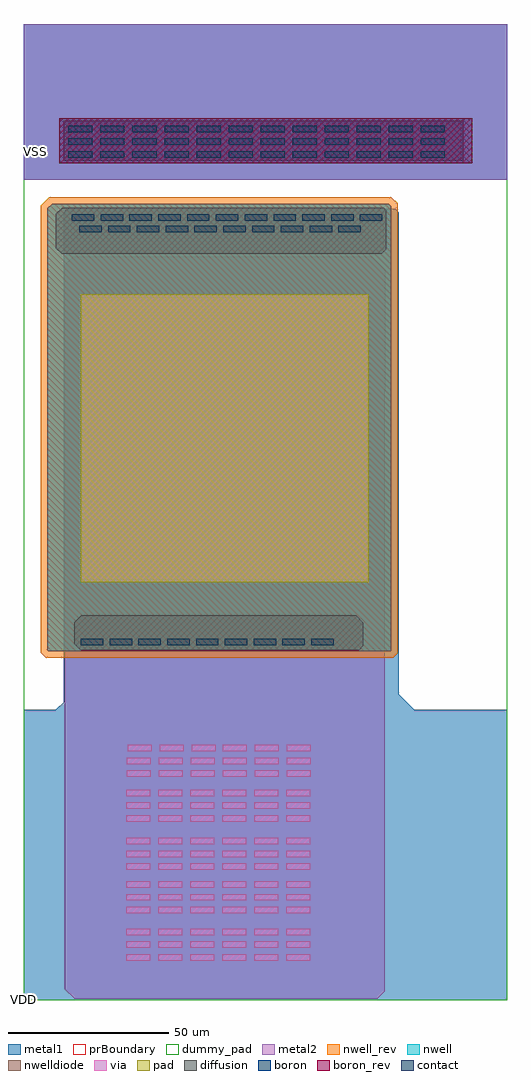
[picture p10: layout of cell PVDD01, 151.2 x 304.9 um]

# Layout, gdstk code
import gdstk
lib = gdstk.Library(unit=1e-6, precision=1e-09)
def R(c, l, rs):  # rectangles x0, y0, x1, y1
    for r in rs: c.add(gdstk.rectangle(r[:2], r[2:], *l))
def A(c, l, x, y, w, h, nx, ny, dx, dy):  # array of equal rectangles
    R(c, l, [(x+i*dx, y+j*dy, x+i*dx+w, y+j*dy+h) for i in range(nx) for j in range(ny)])
def P(c, l, *ps):  # polygons
    for p in ps: c.add(gdstk.Polygon(p, *l))
nwell = (1, 0)
diffusion = (2, 0)
nwell_rev = (3, 0)
boron = (5, 0)
boron_rev = (6, 0)
contact = (7, 0)
metal1 = (8, 0)
via = (9, 0)
metal2 = (10, 0)
pad = (11, 0)
prBoundary = (28, 0)
nwelldiode = (38, 0)
dummy_pad = (40, 0)

pvdd01 = lib.new_cell('PVDD01')
P(pvdd01, nwell, [(7.75,108.95),(7.45,109.25),(7.45,247.3),(8.95,248.8),(114.098,248.8),(114.9,247.998),(114.9,109.161),(114.689,108.95)])
R(pvdd01, diffusion, [(12.55,262.15,137.3,274.65)])
P(pvdd01, diffusion, [(17.851,109.3),(15.9,111.251),(15.9,118.06),(18.04,120.2),(103.9,120.2),(106.2,117.9),(106.2,110.601),(104.899,109.3)],
  [(11.901,233.05),(10.1,234.851),(10.1,245.548),(12.102,247.55),(112.6,247.55),(113.4,246.75),(113.4,234.601),(111.849,233.05)])
P(pvdd01, nwell_rev, [(6.922,106.95),(5.45,108.422),(5.45,248.128),(8.122,250.8),(114.926,250.8),(116.9,248.826),(116.9,108.333),(115.517,106.95)])
R(pvdd01, boron, [(11.1,261.45,140.15,275.45)])
R(pvdd01, boron_rev, [(11.1,261.45,140.15,275.45)])
A(pvdd01, contact, 17.9, 110.8, 7, 2, 9, 1, 9, 0)
A(pvdd01, contact, 17.4, 239.9, 7, 2, 10, 1, 9, 0)
A(pvdd01, contact, 15.1, 243.4, 7, 2, 10, 1, 9, 0)
A(pvdd01, contact, 14.05, 263.15, 7.5, 2, 12, 3, 10, 4)
R(pvdd01, contact, [(105.1,243.4,112,245.4)])
R(pvdd01, metal1, [(0,0,151.2,90.7), (0,256.2,151.2,304.9), (0,256.2,151.2,304.9)])
P(pvdd01, metal1, [(0,0),(0,90.7),(10.149,90.7),(12.5,93.051),(12.5,246.139),(13.511,247.15),(116.149,247.15),(117.25,246.049),(117.25,95.452),(122.002,90.7),(151.2,90.7),(151.2,0)])
A(pvdd01, via, 32.15, 12.3, 7.5, 2, 6, 3, 10, 4)
A(pvdd01, via, 32.15, 27.1, 7.5, 2, 6, 3, 10, 4)
A(pvdd01, via, 32.15, 40.65, 7.5, 2, 6, 3, 10, 4)
A(pvdd01, via, 32.15, 55.7, 7.5, 2, 6, 3, 10, 4)
A(pvdd01, via, 32.25, 69.7, 7.5, 2, 6, 2, 10, 4)
A(pvdd01, via, 32.5, 77.7, 7.5, 2, 3, 1, 10, 0)
A(pvdd01, via, 62.25, 77.7, 7.5, 2, 3, 1, 10, 0)
R(pvdd01, via, [(17.9,130.55,107.9,220.55)])
R(pvdd01, metal2, [(0,256.2,151.2,304.9)])
P(pvdd01, metal2, [(15.957,0.35),(12.9,3.407),(12.9,229.679),(15.471,232.25),(108.889,232.25),(113,228.139),(113,190.218),(112.9,190.118),(112.9,2.805),(110.445,0.35)])
R(pvdd01, pad, [(17.9,130.55,107.9,220.55)])
R(pvdd01, prBoundary, [(0,0,151.2,304.9)])
P(pvdd01, nwelldiode, [(7.75,108.95),(7.45,109.25),(7.45,247.3),(8.95,248.8),(114.098,248.8),(114.9,247.998),(114.9,109.161),(114.689,108.95)])
R(pvdd01, dummy_pad, [(0,0,151.2,304.9)])
pvdd01.add(gdstk.Label('VSS', (3.68,264.948), layer=8, texttype=7))
pvdd01.add(gdstk.Label('VDD', (0.001,0.001), layer=8, texttype=7))

lib.write_gds('PVDD01.gds')
